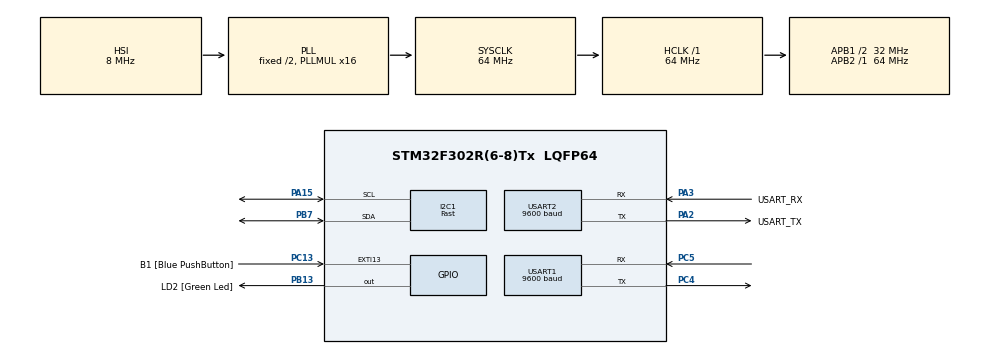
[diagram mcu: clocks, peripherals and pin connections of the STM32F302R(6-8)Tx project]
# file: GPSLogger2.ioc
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Dma.Request0=USART1_RX
Dma.USART1_RX.0.Direction=DMA_PERIPH_TO_MEMORY
Dma.USART1_RX.0.Instance=DMA1_Channel5
Dma.USART1_RX.0.MemDataAlignment=DMA_MDATAALIGN_BYTE
Dma.USART1_RX.0.MemInc=DMA_MINC_ENABLE
Dma.USART1_RX.0.Mode=DMA_CIRCULAR
Dma.USART1_RX.0.PeriphDataAlignment=DMA_PDATAALIGN_BYTE
Dma.USART1_RX.0.PeriphInc=DMA_PINC_DISABLE
Dma.USART1_RX.0.Priority=DMA_PRIORITY_LOW
I2C1.I2C_Speed_Mode=I2C_Fast
I2C1.Timing=0x0000020B
Mcu.Family=STM32F3
Mcu.Name=STM32F302R(6-8)Tx
Mcu.Package=LQFP64
NVIC.DMA1_Channel5_IRQn=true\:0\:0\:false\:false\:true\:false\:true
NVIC.PriorityGroup=NVIC_PRIORITYGROUP_0
NVIC.USART1_IRQn=true\:0\:0\:false\:false\:true\:true\:true
PA13.GPIO_Label=TMS
PA13.Mode=Serial_Wire
PA13.Signal=SYS_JTMS-SWDIO
PA14.GPIO_Label=TCK
PA14.Mode=Serial_Wire
PA14.Signal=SYS_JTCK-SWCLK
PA15.Mode=I2C
PA15.Signal=I2C1_SCL
PA2.GPIO_Label=USART_TX
PA2.GPIO_Mode=GPIO_MODE_AF_PP
PA2.GPIO_PuPd=GPIO_NOPULL
PA2.GPIO_Speed=GPIO_SPEED_FREQ_LOW
PA2.Mode=Asynchronous
PA2.Signal=USART2_TX
PA3.GPIO_Label=USART_RX
PA3.GPIO_Mode=GPIO_MODE_AF_PP
PA3.GPIO_PuPd=GPIO_NOPULL
PA3.GPIO_Speed=GPIO_SPEED_FREQ_LOW
PA3.Mode=Asynchronous
PA3.Signal=USART2_RX
PB13.GPIO_Label=LD2 [Green Led]
PB13.Signal=GPIO_Output
PB3.GPIO_Label=SWO
PB3.Mode=Trace_Asynchronous_SW
PB3.Signal=SYS_JTDO-TRACESWO
PB7.Mode=I2C
PB7.Signal=I2C1_SDA
PC13.GPIO_Label=B1 [Blue PushButton]
PC13.GPIO_ModeDefaultEXTI=GPIO_MODE_IT_FALLING
PC13.Signal=GPXTI13
PC14\ -\ OSC32_IN.Mode=LSE-External-Oscillator
PC14\ -\ OSC32_IN.Signal=RCC_OSC32_IN
PC15\ -\ OSC32_OUT.Mode=LSE-External-Oscillator
PC15\ -\ OSC32_OUT.Signal=RCC_OSC32_OUT
PC4.Mode=Asynchronous
PC4.Signal=USART1_TX
PC5.Mode=Asynchronous
PC5.Signal=USART1_RX
PF0-OSC_IN.Mode=HSE-External-Clock-Source
PF0-OSC_IN.Signal=RCC_OSC_IN
PF1-OSC_OUT.Signal=RCC_OSC_OUT
ProjectManager.HeapSize=0x200
ProjectManager.StackSize=0x400
ProjectManager.TargetToolchain=STM32CubeIDE
RCC.AHBFreq_Value=64000000
RCC.APB1CLKDivider=RCC_HCLK_DIV2
RCC.APB1Freq_Value=32000000
RCC.APB1TimFreq_Value=64000000
RCC.APB2Freq_Value=64000000
RCC.APB2TimFreq_Value=64000000
RCC.CortexFreq_Value=64000000
RCC.HCLKFreq_Value=64000000
RCC.HSE_VALUE=8000000
RCC.HSI_VALUE=8000000
RCC.PLLM=8
RCC.PLLMUL=RCC_PLL_MUL16
RCC.PLLN=336
RCC.PLLP=RCC_PLLP_DIV4
RCC.PLLQ=7
RCC.RCC_PLLsource_Clock_Source_FROM_HSE=RCC_HSE_PREDIV_DIV2
RCC.SYSCLKFreq_VALUE=64000000
RCC.SYSCLKSourceVirtual=RCC_SYSCLKSOURCE_PLLCLK
RCC.USBFreq_Value=64000000
USART1.BaudRate=9600
USART1.VirtualMode-Asynchronous=VM_ASYNC
USART2.BaudRate=9600
USART2.VirtualMode-Asynchronous=VM_ASYNC
board=NUCLEO-F302R8

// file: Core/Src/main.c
/* USER CODE BEGIN Header */
/**
  ******************************************************************************
  * @file           : main.c
  * @brief          : Main program body
  ******************************************************************************
  * @attention
  *
  * <h2><center>&copy; Copyright (c) 2021 STMicroelectronics.
  * All rights reserved.</center></h2>
  *
  * This software component is licensed by ST under BSD 3-Clause license,
  * the "License"; You may not use this file except in compliance with the
  * License. You may obtain a copy of the License at:
  *                        opensource.org/licenses/BSD-3-Clause
  *
  ******************************************************************************
  */
/* USER CODE END Header */
#include "main.h"

/* USER CODE BEGIN Includes */
#include <string.h>
#include <stdio.h>
/* USER CODE END Includes */

/* USER CODE BEGIN PM */
#pragma clang diagnostic push
#pragma ide diagnostic ignored "EndlessLoop"
#define dataSndSze 100
/* USER CODE END PM */

I2C_HandleTypeDef hi2c1;

UART_HandleTypeDef huart1;
UART_HandleTypeDef huart2;
DMA_HandleTypeDef hdma_usart1_rx;

void SystemClock_Config(void);
static void MX_GPIO_Init(void);
static void MX_DMA_Init(void);
static void MX_USART2_UART_Init(void);
static void MX_USART1_UART_Init(void);
static void MX_I2C1_Init(void);

/* USER CODE BEGIN 0 */
uint8_t myRxData[dataSndSze];
uint8_t myTxData[dataSndSze];
uint8_t tempRXStore[dataSndSze];
uint8_t RxBuf[dataSndSze];
uint8_t TxBuf[dataSndSze];
/* USER CODE END 0 */

int main(void)
{
  /* USER CODE BEGIN 1 */
    TxBuf[0]=0x04;
  /* USER CODE END 1 */

  /* MCU Configuration--------------------------------------------------------*/

  /* Reset of all peripherals, Initializes the Flash interface and the Systick. */
  HAL_Init();

  /* Configure the system clock */
  SystemClock_Config();

  /* Initialize all configured peripherals */
  MX_GPIO_Init();
  MX_DMA_Init();
  MX_USART2_UART_Init();
  MX_USART1_UART_Init();
  MX_I2C1_Init();
  /* USER CODE BEGIN 2 */
  HAL_UART_Receive_DMA(&huart1,myRxData,dataSndSze);
  /* USER CODE END 2 */

  /* Infinite loop */
    while (1)
    {

    /* USER CODE BEGIN 3 */
        HAL_GPIO_TogglePin(GPIOB,GPIO_PIN_13);
        HAL_Delay(100);
    }
  /* USER CODE END 3 */
}

void SystemClock_Config(void)
{
  RCC_OscInitTypeDef RCC_OscInitStruct = {0};
  RCC_ClkInitTypeDef RCC_ClkInitStruct = {0};
  RCC_PeriphCLKInitTypeDef PeriphClkInit = {0};

  /** Initializes the RCC Oscillators according to the specified parameters
  * in the RCC_OscInitTypeDef structure.
  */
  RCC_OscInitStruct.OscillatorType = RCC_OSCILLATORTYPE_HSI;
  RCC_OscInitStruct.HSIState = RCC_HSI_ON;
  RCC_OscInitStruct.HSICalibrationValue = RCC_HSICALIBRATION_DEFAULT;
  RCC_OscInitStruct.PLL.PLLState = RCC_PLL_ON;
  RCC_OscInitStruct.PLL.PLLSource = RCC_PLLSOURCE_HSI;
  RCC_OscInitStruct.PLL.PLLMUL = RCC_PLL_MUL16;
  if (HAL_RCC_OscConfig(&RCC_OscInitStruct) != HAL_OK)
  {
    Error_Handler();
  }
  /** Initializes the CPU, AHB and APB buses clocks
  */
  RCC_ClkInitStruct.ClockType = RCC_CLOCKTYPE_HCLK|RCC_CLOCKTYPE_SYSCLK
                              |RCC_CLOCKTYPE_PCLK1|RCC_CLOCKTYPE_PCLK2;
  RCC_ClkInitStruct.SYSCLKSource = RCC_SYSCLKSOURCE_PLLCLK;
  RCC_ClkInitStruct.AHBCLKDivider = RCC_SYSCLK_DIV1;
  RCC_ClkInitStruct.APB1CLKDivider = RCC_HCLK_DIV2;
  RCC_ClkInitStruct.APB2CLKDivider = RCC_HCLK_DIV1;

  if (HAL_RCC_ClockConfig(&RCC_ClkInitStruct, FLASH_LATENCY_2) != HAL_OK)
  {
    Error_Handler();
  }
  PeriphClkInit.PeriphClockSelection = RCC_PERIPHCLK_USART1|RCC_PERIPHCLK_I2C1;
  PeriphClkInit.Usart1ClockSelection = RCC_USART1CLKSOURCE_PCLK1;
  PeriphClkInit.I2c1ClockSelection = RCC_I2C1CLKSOURCE_HSI;
  if (HAL_RCCEx_PeriphCLKConfig(&PeriphClkInit) != HAL_OK)
  {
    Error_Handler();
  }
}

static void MX_I2C1_Init(void)
{

  hi2c1.Instance = I2C1;
  hi2c1.Init.Timing = 0x0000020B;
  hi2c1.Init.OwnAddress1 = 0;
  hi2c1.Init.AddressingMode = I2C_ADDRESSINGMODE_7BIT;
  hi2c1.Init.DualAddressMode = I2C_DUALADDRESS_DISABLE;
  hi2c1.Init.OwnAddress2 = 0;
  hi2c1.Init.OwnAddress2Masks = I2C_OA2_NOMASK;
  hi2c1.Init.GeneralCallMode = I2C_GENERALCALL_DISABLE;
  hi2c1.Init.NoStretchMode = I2C_NOSTRETCH_DISABLE;
  if (HAL_I2C_Init(&hi2c1) != HAL_OK)
  {
    Error_Handler();
  }
  /** Configure Analogue filter
  */
  if (HAL_I2CEx_ConfigAnalogFilter(&hi2c1, I2C_ANALOGFILTER_ENABLE) != HAL_OK)
  {
    Error_Handler();
  }
  /** Configure Digital filter
  */
  if (HAL_I2CEx_ConfigDigitalFilter(&hi2c1, 0) != HAL_OK)
  {
    Error_Handler();
  }

}

static void MX_USART1_UART_Init(void)
{

  huart1.Instance = USART1;
  huart1.Init.BaudRate = 9600;
  huart1.Init.WordLength = UART_WORDLENGTH_8B;
  huart1.Init.StopBits = UART_STOPBITS_1;
  huart1.Init.Parity = UART_PARITY_NONE;
  huart1.Init.Mode = UART_MODE_TX_RX;
  huart1.Init.HwFlowCtl = UART_HWCONTROL_NONE;
  huart1.Init.OverSampling = UART_OVERSAMPLING_16;
  huart1.Init.OneBitSampling = UART_ONE_BIT_SAMPLE_DISABLE;
  huart1.AdvancedInit.AdvFeatureInit = UART_ADVFEATURE_NO_INIT;
  if (HAL_UART_Init(&huart1) != HAL_OK)
  {
    Error_Handler();
  }

}

static void MX_USART2_UART_Init(void)
{

  huart2.Instance = USART2;
  huart2.Init.BaudRate = 9600;
  huart2.Init.WordLength = UART_WORDLENGTH_8B;
  huart2.Init.StopBits = UART_STOPBITS_1;
  huart2.Init.Parity = UART_PARITY_NONE;
  huart2.Init.Mode = UART_MODE_TX_RX;
  huart2.Init.HwFlowCtl = UART_HWCONTROL_NONE;
  huart2.Init.OverSampling = UART_OVERSAMPLING_16;
  huart2.Init.OneBitSampling = UART_ONE_BIT_SAMPLE_DISABLE;
  huart2.AdvancedInit.AdvFeatureInit = UART_ADVFEATURE_NO_INIT;
  if (HAL_UART_Init(&huart2) != HAL_OK)
  {
    Error_Handler();
  }

}

static void MX_DMA_Init(void)
{

  /* DMA controller clock enable */
  __HAL_RCC_DMA1_CLK_ENABLE();

  /* DMA interrupt init */
  /* DMA1_Channel5_IRQn interrupt configuration */
  HAL_NVIC_SetPriority(DMA1_Channel5_IRQn, 0, 0);
  HAL_NVIC_EnableIRQ(DMA1_Channel5_IRQn);

}

static void MX_GPIO_Init(void)
{
  GPIO_InitTypeDef GPIO_InitStruct = {0};

  /* GPIO Ports Clock Enable */
  __HAL_RCC_GPIOC_CLK_ENABLE();
  __HAL_RCC_GPIOF_CLK_ENABLE();
  __HAL_RCC_GPIOA_CLK_ENABLE();
  __HAL_RCC_GPIOB_CLK_ENABLE();

  /*Configure GPIO pin Output Level */
  HAL_GPIO_WritePin(LD2_GPIO_Port, LD2_Pin, GPIO_PIN_RESET);

  /*Configure GPIO pin : B1_Pin */
  GPIO_InitStruct.Pin = B1_Pin;
  GPIO_InitStruct.Mode = GPIO_MODE_IT_FALLING;
  GPIO_InitStruct.Pull = GPIO_NOPULL;
  HAL_GPIO_Init(B1_GPIO_Port, &GPIO_InitStruct);

  /*Configure GPIO pin : LD2_Pin */
  GPIO_InitStruct.Pin = LD2_Pin;
  GPIO_InitStruct.Mode = GPIO_MODE_OUTPUT_PP;
  GPIO_InitStruct.Pull = GPIO_NOPULL;
  GPIO_InitStruct.Speed = GPIO_SPEED_FREQ_LOW;
  HAL_GPIO_Init(LD2_GPIO_Port, &GPIO_InitStruct);

}

/* USER CODE BEGIN 4 */

void HAL_UART_RxCpltCallback(UART_HandleTypeDef *huart)
{
     //Prevent unused argument(s) compilation warning
    UNUSED(huart);

    memcpy(RxBuf,myRxData, sizeof(uint8_t)*dataSndSze);

    int endOfBuf=0;
    while(TxBuf[endOfBuf]!=0x04){  //find the end of the temp rx buf
        endOfBuf++;
    }

    int prevNL=0, prevStrt=0;
    for(int i=0;i<dataSndSze;i++){
        if(RxBuf[i]==0x0a) {
            prevNL=i;   //set newline char position
            if(endOfBuf!=0){
                int x=1;
            }
            memcpy(TxBuf+endOfBuf,RxBuf+prevStrt, sizeof(uint8_t)*(i-prevStrt)+1);    //copy data into TX buffer
            if(TxBuf[4]==0x4C) HAL_UART_Transmit(&huart2, TxBuf, endOfBuf+(i-prevStrt)+1,10);    //transmit
            endOfBuf=0; //reset the TX buffer
        }
        if(RxBuf[i]==0x24) prevStrt=i;
    }
    memcpy(TxBuf,RxBuf+prevStrt,sizeof(uint8_t)*(dataSndSze-prevStrt));
    TxBuf[dataSndSze-prevStrt]=0x04;

}
/* USER CODE END 4 */

void Error_Handler(void)
{
    __disable_irq();
    while (1)
    {
    }
}

/************************ (C) COPYRIGHT STMicroelectronics *****END OF FILE****/

#pragma clang diagnostic pop
